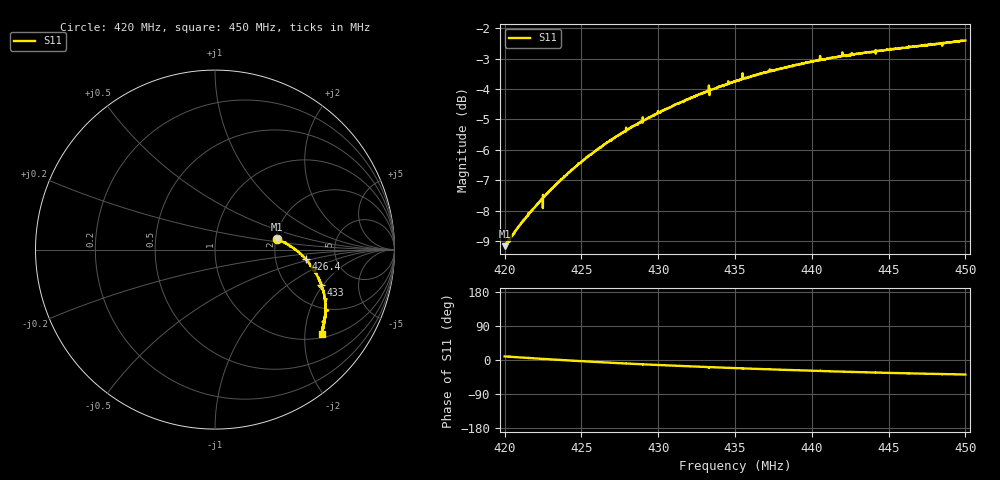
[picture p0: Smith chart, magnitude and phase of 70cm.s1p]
! Calibrated averaged scanner-service zoom
# Hz S RI R 50
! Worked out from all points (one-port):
!   3001 points, 420 MHz to 450 MHz, reference 50 ohm
!   lowest |S11| = -9.2 dB at 420 MHz (marker M1), VSWR 2.07, Z = 101 + j13.2 ohm
!   |S11| at or under -10 dB: nowhere
!   S11 on the Smith chart (normalised r, x): 420 MHz: 2.02, +0.27; 426.4 MHz: 3.00, -0.43; 433 MHz: 2.99, -1.91; 450 MHz: 1.10, -2.44
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4.2e8  0.3436 0.0577
4.2001e8  0.3432 0.0575
4.2017e8  0.349 0.0555
4.2061e8  0.3616 0.0499
4.2171e8  0.3947 0.0343
4.2265e8  0.4211 0.0184
4.2375e8  0.4495 -0.00108
4.2533e8  0.4861 -0.0324
4.2637e8  0.5056 -0.0537
4.275e8  0.526 -0.0775
4.2914e8  0.55 -0.1129
4.3125e8  0.5755 -0.1576
4.3303e8  0.5918 -0.1951
4.3312e8  0.5926 -0.1972
4.3317e8  0.5926 -0.1982
4.3342e8  0.5955 -0.2035
4.3352e8  0.5956 -0.2055
4.35e8  0.6052 -0.2358
4.3627e8  0.6105 -0.2624
4.3732e8  0.6135 -0.2825
4.3875e8  0.6151 -0.3093
4.4044e8  0.6169 -0.3397
4.408e8  0.6155 -0.3465
4.414e8  0.6151 -0.3566
4.425e8  0.6138 -0.3729
4.443e8  0.6103 -0.3999
4.4625e8  0.6045 -0.4256
4.5e8  0.5947 -0.4708
